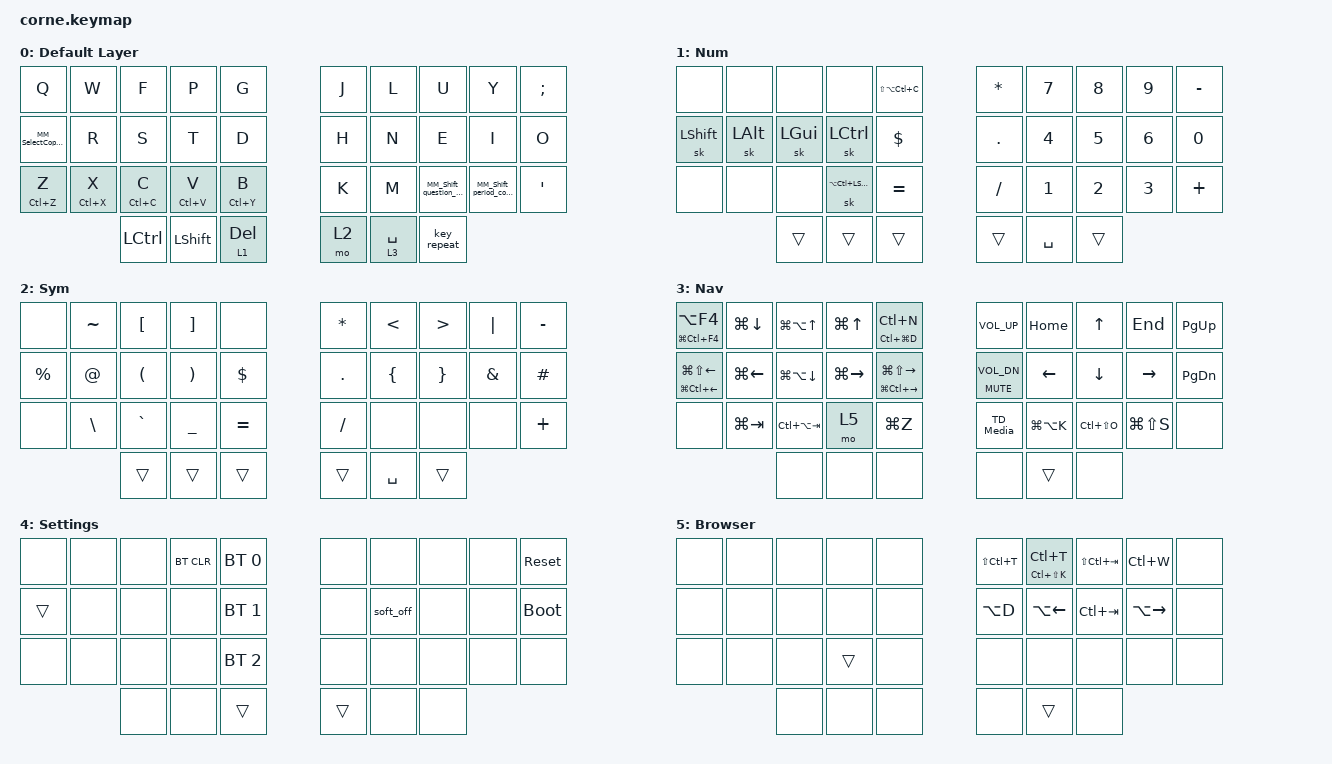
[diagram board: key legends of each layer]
#include <behaviors.dtsi>
#include <dt-bindings/zmk/bt.h>
#include <dt-bindings/zmk/keys.h>
#include <dt-bindings/zmk/pointing.h>

/ {
    chosen { zmk,matrix_transform = &five_column_transform; };

    combos {
        compatible = "zmk,combos";

        Esc_combo {
            bindings = <&kp ESC>;
            key-positions = <1 2>;
        };

        Tab_combo {
            bindings = <&kp TAB>;
            key-positions = <21 22>;
        };

        Bspace_combo {
            bindings = <&kp BACKSPACE>;
            key-positions = <7 8>;
        };

        Enter_combo {
            bindings = <&kp ENTER>;
            key-positions = <27 28>;
        };

        LC_combo {
            bindings = <&mkp LCLK>;
            key-positions = <13 14>;
        };

        RC_combo {
            bindings = <&mkp RCLK>;
            key-positions = <3 4>;
        };

        caps_combo {
            bindings = <&kp CAPS>;
            key-positions = <4 5>;
            layers = <0>;
        };

        capsword_combo {
            bindings = <&caps_word>;
            key-positions = <14 15>;
            layers = <0>;
        };

        Backspace_Word_Combo {
            bindings = <&kp LC(BACKSPACE)>;
            key-positions = <18 17>;
        };
    };

    macros {
        Select_All_And_Copy: Select_All_And_Copy {
            compatible = "zmk,behavior-macro";
            #binding-cells = <0>;
            bindings = <&kp LC(A) &kp LC(C) &kp RIGHT>;
            label = "SELECT_ALL_AND_COPY";
        };
    };

    behaviors {
        MM_Shift_question_exclaim: MM_Shift_question_exclaim {
            compatible = "zmk,behavior-mod-morph";
            label = "MM_SHIFT_QUESTION_EXCLAIM";
            bindings = <&kp QUESTION>, <&kp EXCLAMATION>;

            #binding-cells = <0>;
            mods = <(MOD_LSFT)>;
        };

        MM_Shift_period_comma: MM_Shift_period_comma {
            compatible = "zmk,behavior-mod-morph";
            label = "MM_SHIFT_PERIOD_COMMA";
            bindings = <&kp PERIOD>, <&kp COMMA>;

            #binding-cells = <0>;
            mods = <(MOD_LSFT)>;
        };

        MM_SelectCopyAll: MM_SelectCopyAll {
            compatible = "zmk,behavior-mod-morph";
            label = "MM_SELECTCOPYALL";
            bindings = <&kp A>, <&Select_All_And_Copy>;

            #binding-cells = <0>;
            mods = <(MOD_LCTL)>;
        };

        TD_Media: TD_Media {
            compatible = "zmk,behavior-tap-dance";
            label = "TD_MEDIA";
            #binding-cells = <0>;
            bindings = <&kp C_PLAY_PAUSE>, <&kp C_FAST_FORWARD>, <&kp C_REWIND>;
        };
    };

    keymap {
        compatible = "zmk,keymap";

        Alphas {
            display-name = "Default Layer";

            // -----------------------------------------------------------------------------------------
            // |  Q  |  W  |  F  |  P  |  G  |   |  J  |  L   |  U  |  Y  |  ;  |
            // |  A  |  R  |  S  |  T  |  D  |   |  H  |  N   |  E  |  I  |  O  |
            // |  Z  |  X  |  C  |  V  |  B  |   |  K  |  M   |  .  |  ?  |  '  |
            //             | DEL | SFT | NUM |   | NAV | SPC | CTL |

            bindings = <
&kp Q              &kp W        &kp F        &kp P           &kp G         &kp J  &kp L        &kp U                       &kp Y                   &kp SEMI
&MM_SelectCopyAll  &kp R        &kp S        &kp T           &kp D         &kp H  &kp N        &kp E                       &kp I                   &kp O
&mt LC(Z) Z        &mt LC(X) X  &mt LC(C) C  &mt LC(V) V     &mt LC(Y) B   &kp K  &kp M        &MM_Shift_question_exclaim  &MM_Shift_period_comma  &kp SINGLE_QUOTE
                                &kp LCTRL    &kp LEFT_SHIFT  &lt 1 DELETE  &mo 2  &lt 3 SPACE  &key_repeat
            >;

            label = "Alpha";
        };

        Numbers {
            display-name = "Num";

            // -----------------------------------------------------------------------------------------
            // |  ~  |  &  |  #  |  {  |  <  |   | CAL |  7  |  8  |  9  |  -  |
            // |  %  |  !  |  $  |  @  |  (  |   |  .  |  4  |  5  |  6  |  +  |
            // |  `  |  |  |  \  |  _  |  [  |   |  0  |  1  |  2  |  3  |  /  | 
            //             | DEL | SFT | NUM |   | NAV | SPC | CTL |

            bindings = <
&none           &none         &none         &none                   &kp LS(LA(LC(C)))  &kp ASTRK   &kp N7        &kp N8        &kp NUMBER_9  &kp MINUS
&sk LEFT_SHIFT  &sk LEFT_ALT  &sk LEFT_GUI  &sk LCTRL               &kp DOLLAR         &kp PERIOD  &kp NUMBER_4  &kp NUMBER_5  &kp NUMBER_6  &kp N0
&none           &none         &none         &sk LA(LC(LEFT_SHIFT))  &kp EQUAL          &kp SLASH   &kp NUMBER_1  &kp NUMBER_2  &kp NUMBER_3  &kp PLUS
                              &trans        &trans                  &trans             &trans      &kp SPACE     &trans
            >;
        };

        Symbols {
            bindings = <
&none        &kp TILDE      &kp LEFT_BRACKET      &kp RIGHT_BRACKET      &none       &kp ASTRK  &kp LT          &kp GT           &kp PIPE  &kp MINUS
&kp PERCENT  &kp AT         &kp LEFT_PARENTHESIS  &kp RIGHT_PARENTHESIS  &kp DOLLAR  &kp DOT    &kp LEFT_BRACE  &kp RIGHT_BRACE  &kp AMPS  &kp POUND
&none        &kp BACKSLASH  &kp GRAVE             &kp UNDER              &kp EQUAL   &kp SLASH  &none           &none            &none     &kp PLUS
                            &trans                &trans                 &trans      &trans     &kp SPACE       &trans
            >;

            label = "Sym";
        };

        Navigation {
            label = "Nav";
            bindings = <
&mt LG(LC(F4)) LA(F4)          &kp LG(DOWN_ARROW)  &kp LG(LA(UP_ARROW))  &kp LG(UP_ARROW)  &mt LC(LG(D)) LC(N)              &kp C_VOLUME_UP      &kp HOME       &kp UP_ARROW   &kp END        &kp PG_UP
&mt LG(LC(LEFT)) LG(LS(LEFT))  &kp LG(LEFT)        &kp LG(LA(DOWN))      &kp LG(RIGHT)     &mt LG(LC(RIGHT)) LG(LS(RIGHT))  &mt C_MUTE C_VOL_DN  &kp LEFT       &kp DOWN       &kp RIGHT      &kp PG_DN
&none                          &kp LG(TAB)         &kp LC(LA(TAB))       &mo 5             &kp LG(Z)                        &TD_Media            &kp LG(LA(K))  &kp LC(LS(O))  &kp LG(LS(S))  &none
                                                   &none                 &none             &none                            &none                &trans         &none
            >;
        };

        Settings {
            bindings = <
&none   &none  &none  &bt BT_CLR  &bt BT_SEL 0  &none   &none      &none  &none  &sys_reset
&trans  &none  &none  &none       &bt BT_SEL 1  &none   &soft_off  &none  &none  &bootloader
&none   &none  &none  &none       &bt BT_SEL 2  &none   &none      &none  &none  &none
               &none  &none       &trans        &trans  &none      &none
            >;

            label = "Settings";
        };

        Nav_Browser {
            bindings = <
&none  &none  &none  &none   &none  &kp LS(LC(T))  &mt LC(LS(K)) LC(T)  &kp LS(LC(TAB))  &kp LC(W)            &none
&none  &none  &none  &none   &none  &kp LA(D)      &kp LA(LEFT_ARROW)   &kp LC(TAB)      &kp LA(RIGHT_ARROW)  &none
&none  &none  &none  &trans  &none  &none          &none                &none            &none                &none
              &none  &none   &none  &none          &trans               &none
            >;

            label = "Browser";
        };
    };

    conditional_layers {
        compatible = "zmk,conditional-layers";

        Thumbs_Settings {
            if-layers = <1 2>;
            then-layer = <4>;
        };
    };
};
